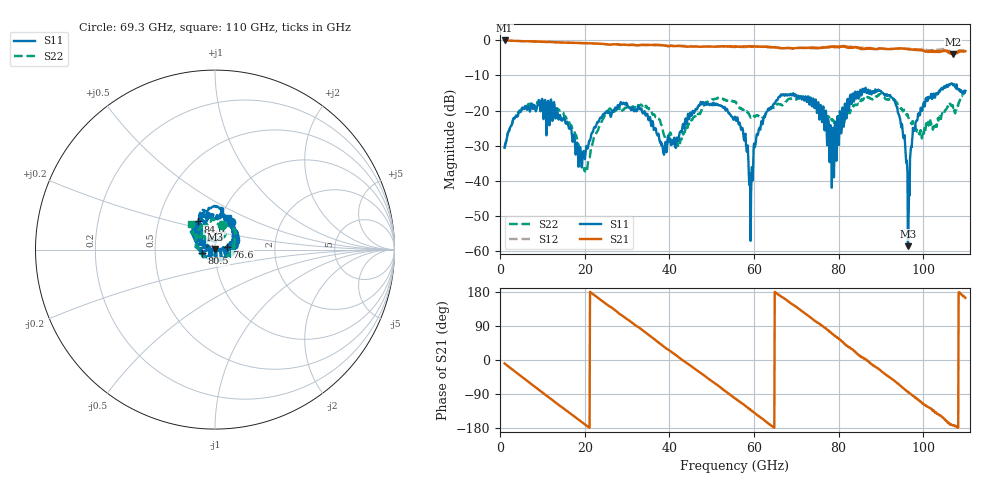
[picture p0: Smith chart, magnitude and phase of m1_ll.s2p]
!Keysight Technologies,N5222B,MY58421742,A.17.00.05
!Date: Friday, September 20, 2024 13:21:34
!Correction: S11(C  2-Port  )
!S21(C  2-Port  )
!S12(C  2-Port  )
!S22(C  2-Port  )
!S2P File: Measurements: S11, S21, S12, S22:
# Hz S  dB  R 50
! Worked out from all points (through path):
!   1091 points, 1 GHz to 110 GHz, reference 50 ohm
!   highest |S21| = -0.08 dB at 1 GHz (marker M1); lowest = -4.1 dB at 107.1 GHz (marker M2)
!   group delay of S21, straight-line fit = 23 ps
!   lowest |S11| = -58.6 dB at 96.4 GHz (marker M3), VSWR 1.00, Z = 49.9 + j0.0878 ohm
!   |S11| at or under -10 dB: start of sweep to end of sweep
!   |S22| runs from -37.3 to -14.2 dB; largest |S21 - S12| = 0.06
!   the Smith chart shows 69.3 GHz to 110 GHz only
!   S11 on the Smith chart (normalised r, x): 69.3 GHz: 1.14, +0.36; 76.6 GHz: 1.14, +0.04; 80.5 GHz: 0.86, -0.03; 84.6 GHz: 0.79, +0.26; 110 GHz: 1.08, +0.39
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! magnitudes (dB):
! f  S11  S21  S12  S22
! 1 GHz  -30.6  -0.1  -0.1  -30.7
! 11.2 GHz  -17.6  -0.5  -0.5  -18.2
! 19.2 GHz  -36.2  -0.8  -0.8  -34.6
! 28.8 GHz  -18.2  -1.3  -1.3  -20.0
! 37.4 GHz  -26.6  -1.3  -1.4  -22.4
! 42 GHz  -28.7  -1.7  -1.5  -30.1
! 47.6 GHz  -18.2  -1.9  -1.9  -19.8
! 55.5 GHz  -21.8  -1.9  -2.0  -17.5
! 59.3 GHz  -43.5  -1.8  -1.8  -22.1
! 62.8 GHz  -20.7  -1.9  -1.9  -20.9
! 69.3 GHz  -15.1  -2.3  -2.4  -16.9
! 73.7 GHz  -18.8  -2.1  -2.3  -18.3
! 76.6 GHz  -23.6  -2.0  -2.2  -20.8
! 78.4 GHz  -42.0  -1.8  -2.0  -22.8
! 80.5 GHz  -22.5  -1.7  -1.9  -24.1
! 84.6 GHz  -14.8  -2.1  -2.1  -18.2
! 91.9 GHz  -15.8  -2.5  -2.6  -16.9
! 95.1 GHz  -24.9  -2.4  -2.4  -19.8
! 96.4 GHz  -58.6  -2.4  -2.4  -21.5
! 99.2 GHz  -21.1  -2.7  -2.6  -26.8
! 107.1 GHz  -12.9  -4.1  -3.6  -19.3
! 110 GHz  -14.4  -3.1  -2.8  -14.2
